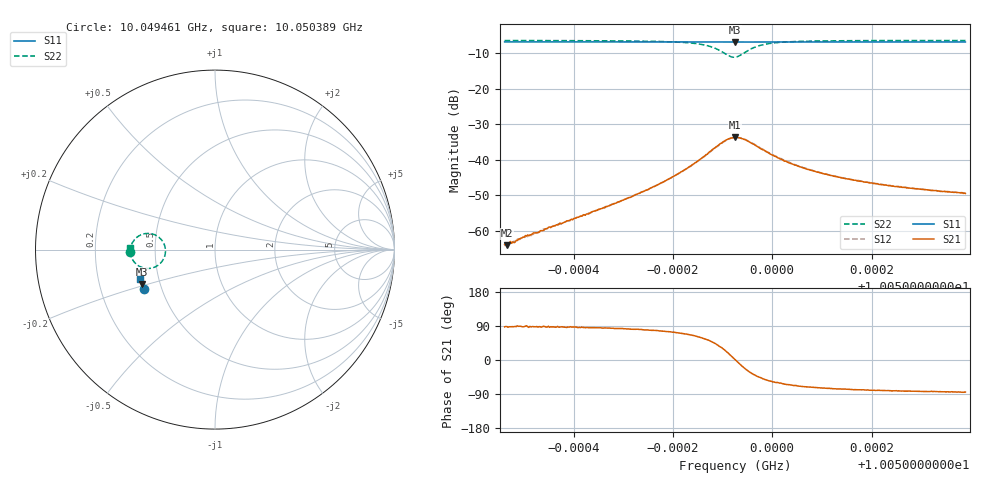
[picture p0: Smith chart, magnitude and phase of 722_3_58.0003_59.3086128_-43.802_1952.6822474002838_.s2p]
#  HZ  S  RI  R  50.00
! Rohde & Schwarz Vector Network Analyzer
! Rohde-Schwarz,ZNB20-2Port,1311601062101988,3.16
! Created: UTC 3/21/2024, 1:22:44 AM
! freq[Hz]  re:S11  im:S11  re:S21  im:S21  re:S12  im:S12  re:S22  im:S22
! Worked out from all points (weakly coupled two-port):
!   401 points, 10.049461 GHz to 10.050389 GHz, reference 50 ohm
!   highest |S21| = -33.66 dB at 10.049925 GHz (marker M1); lowest = -64.0 dB at 10.049466 GHz (marker M2)
!   lowest |S11| = -6.9 dB at 10.049925 GHz (marker M3), VSWR 2.64, Z = 19.7 - j9.6 ohm
!   |S11| at or under -10 dB: nowhere
!   |S22| runs from -11.2 to -6.5 dB; largest |S21 - S12| = 0.0018
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1.00494609e10  -0.3961 -0.2217  2.84e-05 0.000648  -3.54e-05 0.000612  -0.4739 -0.0141
1.00494655e10  -0.3962 -0.2213  2.11e-05 0.000634  -4.14e-05 0.000662  -0.4738 -0.0136
1.00494795e10  -0.3967 -0.2206  2.71e-05 0.000689  -1.19e-05 0.000718  -0.4738 -0.012
1.00495027e10  -0.3975 -0.2193  8.76e-06 0.000864  -2.76e-05 0.000821  -0.4735 -0.0094
1.00495259e10  -0.3981 -0.2178  2.8e-05 0.000945  -1.93e-05 0.000946  -0.4733 -0.00666
1.00496164e10  -0.4007 -0.2124  9.35e-05 0.00162  2.61e-05 0.00164  -0.4716 0.00556
1.00497162e10  -0.4036 -0.2062  0.000463 0.00299  0.000254 0.00302  -0.4663 0.0248
1.00497718e10  -0.4052 -0.2027  0.00103 0.00443  0.000753 0.00447  -0.4584 0.0415
1.00498322e10  -0.4068 -0.1987  0.00307 0.00729  0.00264 0.00741  -0.4346 0.069
1.00498623e10  -0.4072 -0.1968  0.00612 0.00931  0.00548 0.0096  -0.4028 0.0859
1.00498832e10  -0.4074 -0.1954  0.0103 0.0102  0.00941 0.0107  -0.3624 0.0897
1.00499087e10  -0.4073 -0.1941  0.018 0.00682  0.0171 0.00809  -0.295 0.0506
1.0049925e10  -0.4071 -0.1936  0.0207 0.000407  0.0204 0.00203  -0.276 -0.0132
1.00499366e10  -0.4076 -0.1935  0.0196 -0.00465  0.0201 -0.00289  -0.2908 -0.0592
1.00499528e10  -0.4083 -0.1931  0.0156 -0.00916  0.0164 -0.00791  -0.3348 -0.0972
1.00499691e10  -0.409 -0.1925  0.0114 -0.0105  0.0124 -0.00968  -0.3774 -0.1052
1.00499853e10  -0.4099 -0.1915  0.00832 -0.0105  0.00928 -0.00994  -0.4079 -0.0991
1.00500294e10  -0.4116 -0.1887  0.00401 -0.00851  0.00462 -0.00834  -0.4476 -0.0719
1.00500805e10  -0.4131 -0.1855  0.00222 -0.00671  0.00261 -0.00666  -0.4633 -0.0487
1.00501431e10  -0.4147 -0.1815  0.00126 -0.00537  0.0016 -0.00535  -0.4702 -0.0302
1.00502359e10  -0.4169 -0.1758  0.000686 -0.00431  0.000946 -0.00426  -0.4736 -0.0126
1.00503891e10  -0.4206 -0.1665  0.000314 -0.00336  0.000529 -0.00338  -0.4749 0.00684
